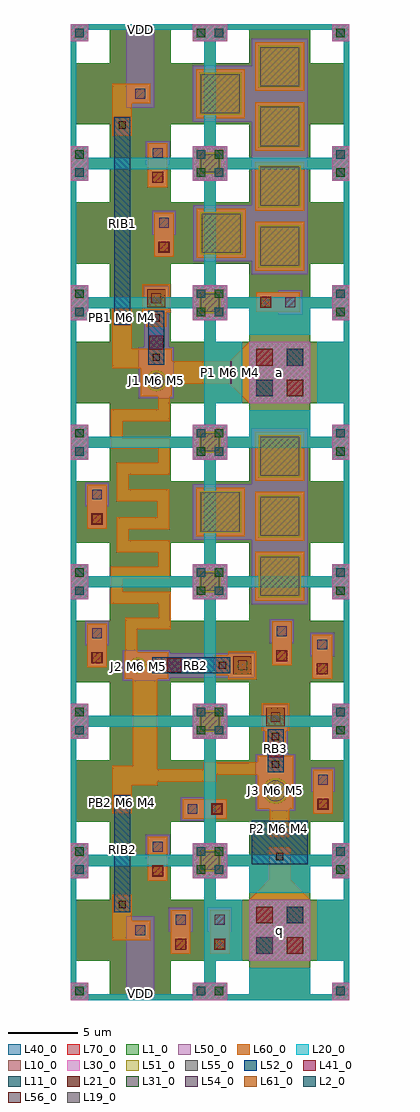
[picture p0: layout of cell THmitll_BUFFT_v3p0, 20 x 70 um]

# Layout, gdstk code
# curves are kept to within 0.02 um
from math import pi, radians
import gdstk
lib = gdstk.Library(unit=1e-6, precision=1e-09)
def R(c, l, rs):  # rectangles x0, y0, x1, y1
    for r in rs: c.add(gdstk.rectangle(r[:2], r[2:], *l))
def P(c, l, *ps):  # polygons
    for p in ps: c.add(gdstk.Polygon(p, *l))
L1_0 = (1, 0)
L2_0 = (2, 0)
L10_0 = (10, 0)
L11_0 = (11, 0)
L19_0 = (19, 0)
L20_0 = (20, 0)
L21_0 = (21, 0)
L30_0 = (30, 0)
L31_0 = (31, 0)
L40_0 = (40, 0)
L41_0 = (41, 0)
L50_0 = (50, 0)
L51_0 = (51, 0)
L52_0 = (52, 0)
L54_0 = (54, 0)
L55_0 = (55, 0)
L56_0 = (56, 0)
L60_0 = (60, 0)
L61_0 = (61, 0)
L70_0 = (70, 0)

ls_tr_m7 = lib.new_cell('ls_tr_M7')
P(ls_tr_m7, L70_0, [(0,0),(0,10),(1.25,10),(1.25,8.75),(0.4,8.75),(0.4,1.25),(1.25,1.25),(1.25,0.4),(2.8,0.4),(2.8,2.8),(0.4,2.8),(0.4,7.2),(2.8,7.2),(2.8,9.6),(1.25,9.6),(1.25,10),(7.2,10),(7.2,0.4),(8.75,0.4),(8.75,1.25),(9.6,1.25),(9.6,2.8),(7.2,2.8),(7.2,7.2),(9.6,7.2),(9.6,8.75),(8.75,8.75),(8.75,9.6),(7.2,9.6),(7.2,10),(10,10),(10,0)])

ls_tr_u_m4 = lib.new_cell('ls_tr_u_M4')
P(ls_tr_u_m4, L1_0, [(0,0),(0,10),(1.25,10),(1.25,8.75),(0.4,8.75),(0.4,1.25),(1.25,1.25),(1.25,0.4),(2.8,0.4),(2.8,2.8),(0.4,2.8),(0.4,7.2),(2.8,7.2),(2.8,9.6),(1.25,9.6),(1.25,10),(7.2,10),(7.2,0.4),(8.75,0.4),(8.75,1.25),(9.6,1.25),(9.6,2.8),(7.2,2.8),(7.2,7.2),(9.6,7.2),(9.6,8.75),(8.75,8.75),(8.75,9.6),(7.2,9.6),(7.2,10),(10,10),(10,0)])
R(ls_tr_u_m4, L2_0, [(9.05,0.35,9.65,0.95), (0.35,9.05,0.95,9.65)])
R(ls_tr_u_m4, L10_0, [(0,0,1.25,1.25), (8.75,0,10,1.25), (0,8.75,1.25,10), (8.75,8.75,10,10)])
R(ls_tr_u_m4, L11_0, [(0.35,0.35,0.95,0.95), (9.05,9.05,9.65,9.65)])
P(ls_tr_u_m4, L20_0, [(0,0),(0,10),(1.25,10),(1.25,8.75),(0.4,8.75),(0.4,1.25),(1.25,1.25),(1.25,0.4),(8.75,0.4),(8.75,1.25),(9.6,1.25),(9.6,8.75),(8.75,8.75),(8.75,9.6),(1.25,9.6),(1.25,10),(10,10),(10,0)])
R(ls_tr_u_m4, L21_0, [(9.05,0.35,9.65,0.95), (0.35,9.05,0.95,9.65)])
R(ls_tr_u_m4, L30_0, [(0,0,1.25,1.25), (8.75,0,10,1.25), (0,8.75,1.25,10), (8.75,8.75,10,10)])
R(ls_tr_u_m4, L31_0, [(0.35,0.35,0.95,0.95), (9.05,9.05,9.65,9.65)])
P(ls_tr_u_m4, L40_0, [(0,0),(0,10),(1.25,10),(1.25,8.75),(0.4,8.75),(0.4,1.25),(1.25,1.25),(1.25,0.4),(2.8,0.4),(2.8,2.8),(0.4,2.8),(0.4,7.2),(2.8,7.2),(2.8,9.6),(1.25,9.6),(1.25,10),(7.2,10),(7.2,0.4),(8.75,0.4),(8.75,1.25),(9.6,1.25),(9.6,2.8),(7.2,2.8),(7.2,7.2),(9.6,7.2),(9.6,8.75),(8.75,8.75),(8.75,9.6),(7.2,9.6),(7.2,10),(10,10),(10,0)])
ls_tr_u_m4.add(gdstk.Reference(ls_tr_m7, (0,0)))

ls_conn_m5m6 = lib.new_cell('ls_conn_M5M6')
R(ls_conn_m5m6, L50_0, [(0,0,1.7,1.7)])
R(ls_conn_m5m6, L54_0, [(0.5,0.5,1.2,1.2)])
R(ls_conn_m5m6, L60_0, [(0.15,0.15,1.55,1.55)])

ls_tr_ptl_conn = lib.new_cell('ls_tr_PTL_conn')
P(ls_tr_ptl_conn, L1_0, [(0,0),(0,10),(1.25,10),(1.25,8.75),(0.4,8.75),(0.4,1.25),(1.25,1.25),(1.25,0.4),(2.8,0.4),(2.8,2.8),(0.4,2.8),(0.4,7.2),(2.8,7.2),(2.8,9.6),(1.25,9.6),(1.25,10),(7.2,10),(7.2,0.4),(8.75,0.4),(8.75,1.25),(9.6,1.25),(9.6,2.8),(7.2,2.8),(7.2,7.2),(9.6,7.2),(9.6,8.75),(8.75,8.75),(8.75,9.6),(7.2,9.6),(7.2,10),(10,10),(10,0)])
R(ls_tr_ptl_conn, L2_0, [(9.05,0.35,9.65,0.95), (0.35,9.05,0.95,9.65)])
R(ls_tr_ptl_conn, L10_0, [(0,0,1.25,1.25), (8.75,0,10,1.25), (2.8,2.8,7.2,7.2), (0,8.75,1.25,10), (8.75,8.75,10,10)])
R(ls_tr_ptl_conn, L11_0, [(0.35,0.35,0.95,0.95), (3.3,3.3,4.5,4.5), (5.5,5.5,6.7,6.7), (9.05,9.05,9.65,9.65)])
R(ls_tr_ptl_conn, L20_0, [(2.8,2.8,7.2,7.2)])
P(ls_tr_ptl_conn, L20_0, [(0,0),(0,10),(7.2,10),(7.2,7.7),(2.8,7.7),(2.8,9.6),(1.25,9.6),(1.25,8.75),(0.4,8.75),(0.4,7.2),(2.3,7.2),(2.3,2.8),(0.4,2.8),(0.4,1.25),(1.25,1.25),(1.25,0.4),(2.8,0.4),(2.8,2.3),(7.2,2.3),(7.2,0.4),(8.75,0.4),(8.75,1.25),(9.6,1.25),(9.6,2.8),(7.7,2.8),(7.7,7.2),(9.6,7.2),(9.6,8.75),(8.75,8.75),(8.75,9.6),(7.2,9.6),(7.2,10),(10,10),(10,0)])
R(ls_tr_ptl_conn, L21_0, [(9.05,0.35,9.65,0.95), (5.5,3.3,6.7,4.5), (3.3,5.5,4.5,6.7), (0.35,9.05,0.95,9.65)])
R(ls_tr_ptl_conn, L30_0, [(0,0,1.25,1.25), (8.75,0,10,1.25), (2.8,2.8,7.2,7.2), (0,8.75,1.25,10), (8.75,8.75,10,10)])
R(ls_tr_ptl_conn, L31_0, [(0.35,0.35,0.95,0.95), (3.3,3.3,4.5,4.5), (5.5,5.5,6.7,6.7), (9.05,9.05,9.65,9.65)])
R(ls_tr_ptl_conn, L40_0, [(2.8,2.8,7.2,7.2)])
P(ls_tr_ptl_conn, L40_0, [(0,0),(0,10),(7.2,10),(7.2,7.7),(2.8,7.7),(2.8,9.6),(1.25,9.6),(1.25,8.75),(0.4,8.75),(0.4,7.2),(2.3,7.2),(2.3,2.8),(0.4,2.8),(0.4,1.25),(1.25,1.25),(1.25,0.4),(2.8,0.4),(2.8,2.3),(7.2,2.3),(7.2,0.4),(8.75,0.4),(8.75,1.25),(9.6,1.25),(9.6,2.8),(7.7,2.8),(7.7,7.2),(9.6,7.2),(9.6,8.75),(8.75,8.75),(8.75,9.6),(7.2,9.6),(7.2,10),(10,10),(10,0)])
R(ls_tr_ptl_conn, L41_0, [(5.5,3.3,6.7,4.5), (3.3,5.5,4.5,6.7)])
R(ls_tr_ptl_conn, L50_0, [(2.8,2.8,7.2,7.2)])
R(ls_tr_ptl_conn, L54_0, [(3.3,3.3,4.5,4.5), (5.5,5.5,6.7,6.7)])
R(ls_tr_ptl_conn, L60_0, [(2.8,2.8,7.2,7.2)])
P(ls_tr_ptl_conn, L70_0, [(0,0),(0,10),(1.25,10),(1.25,8.75),(0.4,8.75),(0.4,1.25),(1.25,1.25),(1.25,0.4),(2.8,0.4),(2.8,2.8),(0.4,2.8),(0.4,7.2),(2.8,7.2),(2.8,9.6),(1.25,9.6),(1.25,10),(7.2,10),(7.2,0.4),(8.75,0.4),(8.75,1.25),(9.6,1.25),(9.6,2.8),(7.2,2.8),(7.2,7.2),(9.6,7.2),(9.6,8.75),(8.75,8.75),(8.75,9.6),(7.2,9.6),(7.2,10),(10,10),(10,0)])

ls_res_1p36 = lib.new_cell('ls_res_1p36')
R(ls_res_1p36, L52_0, [(-2,0,2,3.1)])
R(ls_res_1p36, L56_0, [(-0.26,0.29,0.26,0.81), (-0.26,2.3,0.26,2.82)])
R(ls_res_1p36, L60_0, [(-0.625,-0.1,0.625,1.175), (-0.625,1.925,0.625,3.2)])

ls_fakejj_3x3um = lib.new_cell('ls_FakeJJ_3x3um')
R(ls_fakejj_3x3um, L40_0, [(-2,-2,2,2)])
R(ls_fakejj_3x3um, L50_0, [(-2,-2,2,2)])
R(ls_fakejj_3x3um, L51_0, [(-1.5,-1.5,1.5,1.5)])
R(ls_fakejj_3x3um, L55_0, [(-1.4,-1.4,1.4,1.4)])
R(ls_fakejj_3x3um, L60_0, [(-1.75,-1.75,1.75,1.75)])

ls_conn_m5m6m7 = lib.new_cell('ls_conn_M5M6M7')
R(ls_conn_m5m6m7, L60_0, [(-0.65,-0.65,1.35,1.35)])
R(ls_conn_m5m6m7, L61_0, [(-0.3,-0.3,1,1)])
R(ls_conn_m5m6m7, L70_0, [(-0.65,-0.65,1.35,1.35)])

th_jj_250_sg = lib.new_cell('th_jj_250_sg')
R(th_jj_250_sg, L41_0, [(-0.5,2.4,0.5,3.4)])
R(th_jj_250_sg, L50_0, [(-1.425,-1.425,1.425,2.625), (-0.875,2.625,0.875,6.175)])
P(th_jj_250_sg, L51_0, [(0,-0.91),(-0.18,-0.895),(-0.35,-0.84),(-0.645,-0.645),(-0.84,-0.35),(-0.91,0),(-0.895,0.18),(-0.84,0.35),(-0.645,0.645),(-0.35,0.84),(-0.18,0.895),(0,0.91),(0.18,0.895),(0.35,0.84),(0.645,0.645),(0.84,0.35),(0.895,0.18),(0.91,0),(0.84,-0.35),(0.645,-0.645),(0.35,-0.84),(0.18,-0.895)])
R(th_jj_250_sg, L52_0, [(-0.575,1.35,0.575,4.425)])
R(th_jj_250_sg, L54_0, [(-0.35,4.95,0.35,5.65)])
P(th_jj_250_sg, L55_0, [(0,-0.76),(-0.15,-0.75),(-0.29,-0.7),(-0.54,-0.54),(-0.7,-0.29),(-0.75,-0.15),(-0.76,0),(-0.75,0.15),(-0.7,0.29),(-0.54,0.54),(-0.29,0.7),(-0.15,0.75),(0,0.76),(0.15,0.75),(0.29,0.7),(0.54,0.54),(0.7,0.29),(0.75,0.15),(0.76,0),(0.75,-0.15),(0.7,-0.29),(0.54,-0.54),(0.29,-0.7),(0.15,-0.75)])
R(th_jj_250_sg, L56_0, [(-0.26,1.64,0.26,2.16), (-0.26,3.63,0.26,4.15)])
R(th_jj_250_sg, L60_0, [(-1.275,-1.275,1.275,2.525), (-0.725,3.25,0.725,6.025)])
th_jj_250_sg.add(gdstk.Reference(ls_conn_m5m6m7, (-0.35,4.95)))

th_ib_112 = lib.new_cell('th_ib_112')
R(th_ib_112, L52_0, [(-0.575,0,0.575,14.875)])
R(th_ib_112, L56_0, [(-0.26,0.29,0.26,0.81), (-0.26,14.07,0.26,14.59)])
R(th_ib_112, L60_0, [(-0.625,-0.1,0.625,1.175), (-0.625,13.7,0.625,14.975)])

th_jj_160_sg = lib.new_cell('th_jj_160_sg')
R(th_jj_160_sg, L41_0, [(-0.5,2.225,0.5,3.225)])
R(th_jj_160_sg, L50_0, [(-1.25,-1.25,1.25,2.425), (-0.875,2.425,0.875,6.8)])
P(th_jj_160_sg, L51_0, [(0,-0.735),(-0.28,-0.68),(-0.52,-0.52),(-0.68,-0.28),(-0.735,0),(-0.68,0.28),(-0.52,0.52),(-0.28,0.68),(0,0.735),(0.28,0.68),(0.52,0.52),(0.68,0.28),(0.735,0),(0.68,-0.28),(0.52,-0.52),(0.28,-0.68)])
R(th_jj_160_sg, L52_0, [(-0.575,1.15,0.575,5.05)])
R(th_jj_160_sg, L54_0, [(-0.35,5.575,0.35,6.275)])
P(th_jj_160_sg, L55_0, [(0,-0.58),(-0.22,-0.54),(-0.41,-0.41),(-0.54,-0.22),(-0.58,0),(-0.54,0.23),(-0.41,0.42),(-0.22,0.54),(0,0.59),(0.22,0.54),(0.41,0.42),(0.54,0.23),(0.58,0),(0.54,-0.22),(0.41,-0.41),(0.22,-0.54)])
R(th_jj_160_sg, L56_0, [(-0.26,1.43,0.26,1.95), (-0.26,4.25,0.26,4.77)])
R(th_jj_160_sg, L60_0, [(-1.1,-1.1,1.1,2.325), (-0.725,3.875,0.725,6.65)])
th_jj_160_sg.add(gdstk.Reference(ls_conn_m5m6m7, (-0.35,5.575)))

th_jj_92_sg = lib.new_cell('th_jj_92_sg')
R(th_jj_92_sg, L41_0, [(-0.5,2.075,0.5,3.075)])
R(th_jj_92_sg, L50_0, [(-1.1,-1.1,1.1,2.25), (-0.875,2.25,0.875,8.35)])
P(th_jj_92_sg, L51_0, [(0,-0.565),(-0.215,-0.52),(-0.4,-0.4),(-0.52,-0.215),(-0.565,0),(-0.52,0.215),(-0.4,0.4),(-0.215,0.52),(0,0.565),(0.215,0.52),(0.4,0.4),(0.52,0.215),(0.565,0),(0.52,-0.215),(0.4,-0.4),(0.215,-0.52)])
R(th_jj_92_sg, L52_0, [(-0.575,1,0.575,6.6)])
R(th_jj_92_sg, L54_0, [(-0.35,7.125,0.35,7.825)])
P(th_jj_92_sg, L55_0, [(0,-0.42),(-0.16,-0.39),(-0.35,-0.25),(-0.43,-0.01),(-0.35,0.23),(-0.29,0.29),(-0.16,0.38),(0,0.41),(0.16,0.38),(0.29,0.29),(0.35,0.23),(0.43,-0.01),(0.35,-0.25),(0.16,-0.39)])
R(th_jj_92_sg, L56_0, [(-0.26,1.27,0.26,1.79), (-0.26,5.79,0.26,6.31)])
R(th_jj_92_sg, L60_0, [(-0.95,-0.95,0.95,2.15), (-0.725,5.425,0.725,8.2)])
th_jj_92_sg.add(gdstk.Reference(ls_conn_m5m6m7, (-0.35,7.125)))

th_ib_218 = lib.new_cell('th_ib_218')
R(th_ib_218, L52_0, [(-0.575,0,0.575,8.375)])
R(th_ib_218, L56_0, [(-0.26,0.29,0.26,0.81), (-0.26,7.58,0.26,8.1)])
R(th_ib_218, L60_0, [(-0.625,-0.1,0.625,1.175), (-0.625,7.2,0.625,8.475)])

ls_conn_m4m5m6m7 = lib.new_cell('ls_conn_M4M5M6M7')
R(ls_conn_m4m5m6m7, L40_0, [(0,0,1.4,1.4)])
R(ls_conn_m4m5m6m7, L41_0, [(0.3,0.3,1.1,1.1)])
P(ls_conn_m4m5m6m7, L50_0, [(1.6,-0.15),(1.6,0),(0,0),(0,1.4),(1.6,1.4),(1.6,1.55),(3.3,1.55),(3.3,-0.15)])
R(ls_conn_m4m5m6m7, L54_0, [(2.1,0.35,2.8,1.05)])
R(ls_conn_m4m5m6m7, L60_0, [(0,0,3.15,1.4)])
R(ls_conn_m4m5m6m7, L61_0, [(0.35,0.35,1.05,1.05)])
R(ls_conn_m4m5m6m7, L70_0, [(0,0,1.4,1.4)])

ls_fakejj_1p5x1p5um = lib.new_cell('ls_FakeJJ_1p5x1p5um')
R(ls_fakejj_1p5x1p5um, L40_0, [(-1.25,-1.25,1.25,1.25)])
R(ls_fakejj_1p5x1p5um, L50_0, [(-1.25,-1.25,1.25,1.25)])
R(ls_fakejj_1p5x1p5um, L51_0, [(-0.75,-0.75,0.75,0.75)])
R(ls_fakejj_1p5x1p5um, L55_0, [(-0.65,-0.65,0.65,0.65)])
R(ls_fakejj_1p5x1p5um, L60_0, [(-1,-1,1,1)])

thmitll_bufft_v3p0 = lib.new_cell('THmitll_BUFFT_v3p0')
R(thmitll_bufft_v3p0, L19_0, [(14.7,12.05,15.25,12.55), (3.45,13.9,3.95,14.4), (3.45,48.75,4,49.2)])
R(thmitll_bufft_v3p0, L50_0, [(13,28.4,17,41), (8.75,33,13.9,37), (13,52.05,17,68.95), (8.8,53,13.4,57), (8.75,63,13.25,67)])
P(thmitll_bufft_v3p0, L60_0, [(12.8,42.8),(10.6,45),(12.8,47.2)],
  [(12.8,7.2),(15,9.4),(17.2,7.2)])
thmitll_bufft_v3p0.add(gdstk.FlexPath([(7,45),(12.9,45)], 1.6, ends="flush", simple_path=True, layer=60, datatype=0))  # L60_0
thmitll_bufft_v3p0.add(gdstk.FlexPath([(5.7,65),(3.7,65),(3.7,62)], 1.4, ends="flush", simple_path=True, layer=60, datatype=0))  # L60_0
thmitll_bufft_v3p0.add(gdstk.FlexPath([(3.7,49.65),(3.7,46.025),(5.2,46.025)], 1.4, ends="flush", simple_path=True, layer=60, datatype=0))  # L60_0
thmitll_bufft_v3p0.add(gdstk.FlexPath([(5.35,16.1),(10,16.1),(10,16.6),(13.55,16.6)], 0.9, ends="flush", simple_path=True, layer=60, datatype=0))  # L60_0
thmitll_bufft_v3p0.add(gdstk.FlexPath([(5.7,5),(3.7,5),(3.7,7.55)], 1.4, ends="flush", simple_path=True, layer=60, datatype=0))  # L60_0
thmitll_bufft_v3p0.add(gdstk.FlexPath([(3.7,13.4),(3.7,16.1),(5.35,16.1)], 1.4, ends="flush", simple_path=True, layer=60, datatype=0))  # L60_0
thmitll_bufft_v3p0.add(gdstk.FlexPath([(5.35,15.4),(5.35,23.2)], 1.75, ends="flush", simple_path=True, layer=60, datatype=0))  # L60_0
thmitll_bufft_v3p0.add(gdstk.FlexPath([(15,13.85),(15,11.7)], 1.4, ends="flush", simple_path=True, layer=60, datatype=0))  # L60_0
thmitll_bufft_v3p0.add(gdstk.FlexPath([(6.7,43.45),(6.7,41.95),(3.3,41.95),(3.3,39.95),(6.7,39.95),(6.7,38.1),(3.75,38.1),(3.75,36.2),(6.65,36.2),(6.65,34.2),(3.75,34.2),(3.75,32.55),(6.7,32.55),(6.7,30.65),(3.3,30.65),(3.3,28.85),(6.75,28.85),(6.75,27),(4.35,27),(4.35,24.8)], 0.85, ends="flush", simple_path=True, layer=60, datatype=0))  # L60_0
thmitll_bufft_v3p0.add(gdstk.FlexPath([(15,7.2),(15,10.95)], 1.6, ends="flush", simple_path=True, layer=60, datatype=0))  # L60_0
thmitll_bufft_v3p0.add(gdstk.FlexPath([(5,70),(5,64)], 2, ends="flush", simple_path=True, layer=50, datatype=0))  # L50_0
thmitll_bufft_v3p0.add(gdstk.FlexPath([(5,0),(5,6)], 2, ends="flush", simple_path=True, layer=50, datatype=0))  # L50_0
thmitll_bufft_v3p0.add(gdstk.FlexPath([(11.5,45.8),(11.5,44.2)], 0.1, ends="flush", simple_path=True, layer=19, datatype=0))  # L19_0
r = gdstk.Reference(ls_tr_u_m4, (0,0)); r.repetition = gdstk.Repetition(1, 7, v1=(0,0), v2=(0,10)); thmitll_bufft_v3p0.add(r)
r = gdstk.Reference(ls_tr_u_m4, (10,50)); r.repetition = gdstk.Repetition(1, 2, v1=(0,0), v2=(0,10)); thmitll_bufft_v3p0.add(r)
r = gdstk.Reference(ls_tr_u_m4, (10,10)); r.repetition = gdstk.Repetition(1, 3, v1=(0,0), v2=(0,10)); thmitll_bufft_v3p0.add(r)
thmitll_bufft_v3p0.add(gdstk.Reference(ls_conn_m5m6, (5.85,65.85), rotation=pi))
thmitll_bufft_v3p0.add(gdstk.Reference(ls_tr_ptl_conn, (20,10), rotation=pi))
thmitll_bufft_v3p0.add(gdstk.Reference(ls_res_1p36, (15,12.85), rotation=pi))
thmitll_bufft_v3p0.add(gdstk.Reference(ls_conn_m5m6, (5.85,5.85), rotation=pi))
r = gdstk.Reference(ls_fakejj_3x3um, (15,66.95), rotation=pi); r.repetition = gdstk.Repetition(1, 4, v1=(0,0), v2=(0,-4.3)); thmitll_bufft_v3p0.add(r)
thmitll_bufft_v3p0.add(gdstk.Reference(ls_fakejj_3x3um, (10.75,65), rotation=pi))
thmitll_bufft_v3p0.add(gdstk.Reference(ls_fakejj_3x3um, (10.8,55), rotation=pi))
thmitll_bufft_v3p0.add(gdstk.Reference(th_jj_250_sg, (14.7,15)))
thmitll_bufft_v3p0.add(gdstk.Reference(ls_tr_ptl_conn, (20,50), rotation=pi))
thmitll_bufft_v3p0.add(gdstk.Reference(th_ib_112, (3.7,63.3), rotation=pi))
thmitll_bufft_v3p0.add(gdstk.Reference(th_jj_160_sg, (6.15,44.4)))
thmitll_bufft_v3p0.add(gdstk.Reference(th_jj_92_sg, (4.85,24), rotation=3*pi/2))
thmitll_bufft_v3p0.add(gdstk.Reference(th_ib_218, (3.7,6.3)))
thmitll_bufft_v3p0.add(gdstk.Reference(ls_conn_m4m5m6m7, (13.3,49.35)))
thmitll_bufft_v3p0.add(gdstk.Reference(ls_fakejj_1p5x1p5um, (10,50)))
thmitll_bufft_v3p0.add(gdstk.Reference(ls_fakejj_1p5x1p5um, (10,60)))
thmitll_bufft_v3p0.add(gdstk.Reference(ls_fakejj_1p5x1p5um, (10,40)))
thmitll_bufft_v3p0.add(gdstk.Reference(ls_fakejj_1p5x1p5um, (10,30)))
thmitll_bufft_v3p0.add(gdstk.Reference(ls_fakejj_1p5x1p5um, (10,20)))
thmitll_bufft_v3p0.add(gdstk.Reference(ls_fakejj_1p5x1p5um, (10,10)))
thmitll_bufft_v3p0.add(gdstk.Reference(ls_conn_m4m5m6m7, (6.95,58.3), rotation=pi/2))
thmitll_bufft_v3p0.add(gdstk.Reference(ls_conn_m4m5m6m7, (7.4,53.3), rotation=pi/2))
thmitll_bufft_v3p0.add(gdstk.Reference(ls_conn_m4m5m6m7, (6.95,8.55), rotation=pi/2))
thmitll_bufft_v3p0.add(gdstk.Reference(ls_conn_m4m5m6m7, (18.8,13.35), rotation=pi/2))
thmitll_bufft_v3p0.add(gdstk.Reference(ls_conn_m4m5m6m7, (8.6,3.3), rotation=pi/2))
thmitll_bufft_v3p0.add(gdstk.Reference(ls_conn_m4m5m6m7, (11.4,3.3), rotation=pi/2))
thmitll_bufft_v3p0.add(gdstk.Reference(ls_conn_m4m5m6m7, (11.2,14.4), rotation=pi))
thmitll_bufft_v3p0.add(gdstk.Reference(ls_conn_m4m5m6m7, (2.6,23.85), rotation=pi/2))
r = gdstk.Reference(ls_fakejj_3x3um, (15,39), rotation=pi); r.repetition = gdstk.Repetition(1, 3, v1=(0,0), v2=(0,-4.3)); thmitll_bufft_v3p0.add(r)
thmitll_bufft_v3p0.add(gdstk.Reference(ls_conn_m4m5m6m7, (15.85,24), rotation=pi/2))
thmitll_bufft_v3p0.add(gdstk.Reference(ls_conn_m4m5m6m7, (18.75,23.05), rotation=pi/2))
thmitll_bufft_v3p0.add(gdstk.Reference(ls_fakejj_3x3um, (10.75,35), rotation=pi/2))
thmitll_bufft_v3p0.add(gdstk.Reference(ls_conn_m4m5m6m7, (2.6,33.8), rotation=pi/2))
thmitll_bufft_v3p0.add(gdstk.Label('VDD', (5,0.45), layer=50, texttype=0))
thmitll_bufft_v3p0.add(gdstk.Label('VDD', (5,69.6), layer=50, texttype=0))
thmitll_bufft_v3p0.add(gdstk.Label('GND', (3.45,69.35), layer=40, texttype=0))
thmitll_bufft_v3p0.add(gdstk.Label('P1 M6 M4', (11.5,45), layer=182, texttype=0))
thmitll_bufft_v3p0.add(gdstk.Label('J1 M6 M5', (6.15,44.45), layer=182, texttype=0))
thmitll_bufft_v3p0.add(gdstk.Label('PB1 M6 M4', (3.7,48.95), layer=182, texttype=0))
thmitll_bufft_v3p0.add(gdstk.Label('PB2 M6 M4', (3.75,14.2), layer=182, texttype=0))
thmitll_bufft_v3p0.add(gdstk.Label('J2 M6 M5', (4.9,23.95), layer=182, texttype=0))
thmitll_bufft_v3p0.add(gdstk.Label('J3 M6 M5', (14.7,15), layer=182, texttype=0))
thmitll_bufft_v3p0.add(gdstk.Label('P2 M6 M4', (15,12.3), layer=182, texttype=0))
thmitll_bufft_v3p0.add(gdstk.Label('RIB2', (3.7,10.8), layer=52, texttype=11))
thmitll_bufft_v3p0.add(gdstk.Label('RB3', (14.7,18.05), layer=52, texttype=11))
thmitll_bufft_v3p0.add(gdstk.Label('RB2', (8.95,24), layer=52, texttype=11))
thmitll_bufft_v3p0.add(gdstk.Label('RB1', (6.1,47.95), layer=52, texttype=11))
thmitll_bufft_v3p0.add(gdstk.Label('RIB1', (3.7,55.7), layer=52, texttype=11))
thmitll_bufft_v3p0.add(gdstk.Label('RD', (15,11.3), layer=52, texttype=11))
thmitll_bufft_v3p0.add(gdstk.Label('a', (15,45), layer=60, texttype=5))
thmitll_bufft_v3p0.add(gdstk.Label('q', (15,5), layer=60, texttype=5))

lib.write_gds('THmitll_BUFFT_v3p0.gds')
